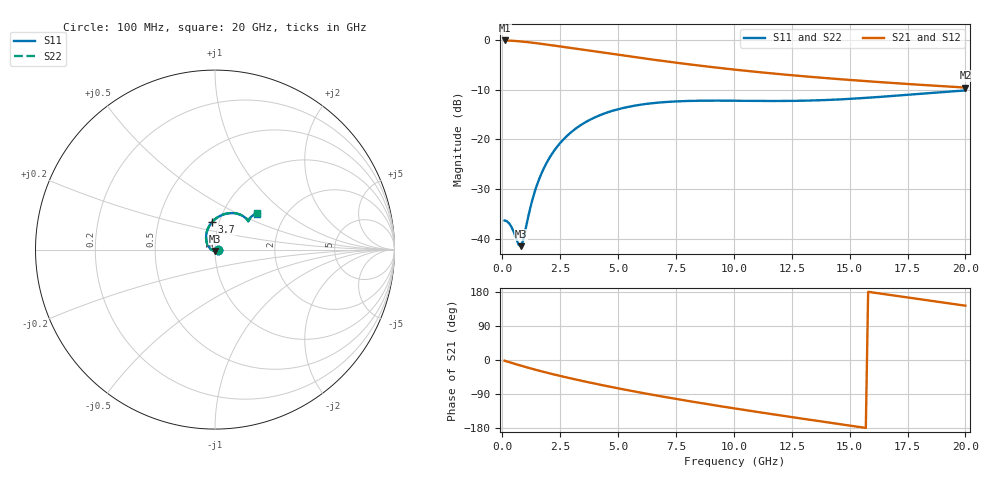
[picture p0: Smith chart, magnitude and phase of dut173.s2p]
! Touchstone file exported from HFSS 2024.1.0
!  File:  C:/UserFiles/LocalFiles/RDL_TSV_Batchsim/temp_RDL_TSV_173_1779437393.aedt
!  Generated:  04:20:11 PM May 22, 2026
!  Design:  RDL_TSV
!  Project:  temp_RDL_TSV_173_1779437393
!  Setup:  Setup1
!  Solution:  Sweep
! Variables:
!  dtsv = 13.92um
!  hbump = 3um
!  htsv = 79.52um
!  ldown = 388.3um
!  lrdl = 416.96um
!  p = 40
!  p1 = 41.3um
!  rhole = 10um
!  subl = 2832.74um
!  t = 450um
!  tdown = 4.31um
!  trdl = 4.91um
!  viad = 10um
!  wdown = 13.02um
!  wrdl = 15.28um
!  xbump = 18um
# GHz S MA R 50.000000
! Terminal data exported
! Port[1] = TM1_1_T1
! Port[2] = TM1_4_T1
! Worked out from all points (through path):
!   200 points, 100 MHz to 20 GHz, reference 50 ohm
!   highest |S21| = -0.14 dB at 100 MHz (marker M1); lowest = -9.6 dB at 20 GHz (marker M2)
!   group delay of S21, straight-line fit = 28.5 ps
!   lowest |S11| = -41.4 dB at 800 MHz (marker M3), VSWR 1.02, Z = 49.8 - j0.812 ohm
!   |S11| at or under -10 dB: start of sweep to end of sweep
!   |S22| runs from -41.5 to -10.2 dB; largest |S21 - S12| = 8e-15
!   S11 on the Smith chart (normalised r, x): 100 MHz: 1.03, -0.00; 3.7 GHz: 0.92, +0.29; 20 GHz: 1.45, +0.64
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0.1  0.01533 -5.3  0.984 -1.9  0.984 -1.9  0.01533 -5.3
! Gamma 0 0 0 0
! Port Impedance 50 0 50 0
0.3  0.01433 -19.5  0.9803 -5.7  0.9803 -5.7  0.01432 -19.5
0.4  0.01317 -28.9  0.9776 -7.6  0.9776 -7.6  0.01316 -29.0
0.7  0.008774 -77.8  0.9667 -13.1  0.9667 -13.1  0.008755 -78.0
0.8  0.008464 -105.4  0.9622 -14.9  0.9622 -14.9  0.008455 -105.6
0.9  0.009688 -132.9  0.9574 -16.6  0.9574 -16.6  0.009697 -133.1
1.2  0.02014 180.0  0.9409 -21.8  0.9409 -21.8  0.0202 179.8
1.4  0.02975 164.7  0.9288 -25.2  0.9288 -25.2  0.02984 164.6
1.6  0.04036 153.8  0.916 -28.4  0.916 -28.4  0.04047 153.7
1.9  0.05726 141.2  0.8963 -33.1  0.8963 -33.1  0.05742 141.1
2.2  0.07463 131.1  0.8764 -37.7  0.8764 -37.7  0.07484 131.0
2.6  0.09755 119.8  0.8501 -43.5  0.8501 -43.5  0.09781 119.8
3.5  0.1444 99.9  0.7932 -55.9  0.7932 -55.9  0.1447 99.9
3.7  0.1535 96.3  0.781 -58.5  0.781 -58.5  0.1539 96.2
5  0.2006 76.7  0.7069 -74.7  0.7069 -74.7  0.2012 76.7
6.8  0.2345 58.6  0.6186 -95.2  0.6186 -95.2  0.2352 58.6
8.4  0.2441 48.6  0.5544 -111.9  0.5544 -111.9  0.2449 48.6
10.1  0.2441 42.7  0.4995 -128.5  0.4995 -128.5  0.2451 42.7
11.7  0.2428 40.6  0.4582 -143.4  0.4582 -143.4  0.2437 40.5
13.4  0.2457 40.7  0.4226 -158.8  0.4226 -158.8  0.2466 40.6
16.7  0.2711 42.2  0.3702 172.0  0.3702 172.0  0.272 42.1
20  0.3097 40.4  0.3313 143.3  0.3313 143.3  0.3107 40.4
